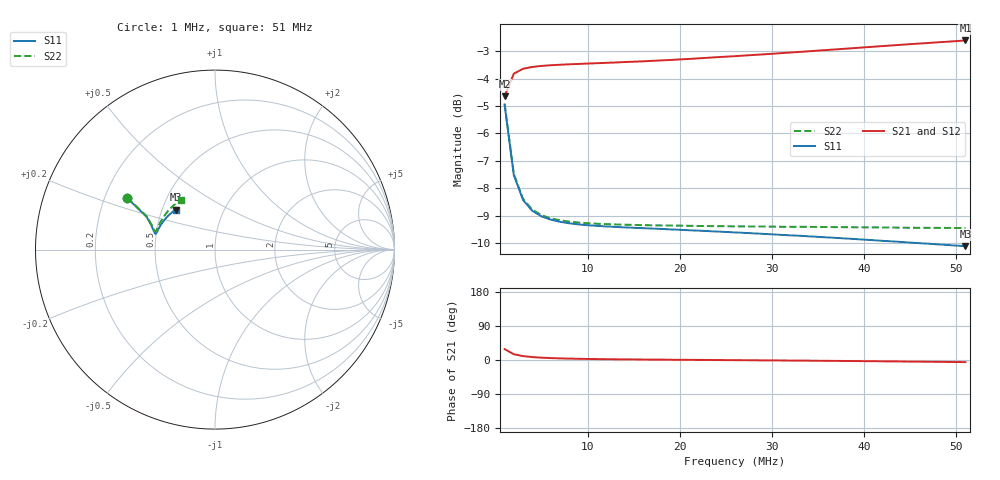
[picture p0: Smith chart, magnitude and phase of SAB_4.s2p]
# MHz S RI R 50
! S-Parameters data
! Freq  reS11  imS11  reS21  imS21  reS12  imS12  reS22  imS22
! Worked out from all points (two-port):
!   51 points, 1 MHz to 51 MHz, reference 50 ohm
!   highest |S21| = -2.61 dB at 51 MHz (marker M1); lowest = -4.6 dB at 1 MHz (marker M2)
!   |S21| within 3 dB of the highest: start of sweep to end of sweep
!   lowest |S11| = -10.1 dB at 51 MHz (marker M3), VSWR 1.91, Z = 29.4 + j14.5 ohm
!   |S11| at or under -10 dB: 45.75 MHz to end of sweep
!   |S22| runs from -9.5 to -4.9 dB; largest |S21 - S12| = 0.0026
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1  -0.4877 0.2863  0.5138 0.281  0.5113 0.281  -0.4884 0.2887
2  -0.3798 0.1808  0.6214 0.1694  0.6193 0.1701  -0.3797 0.185
3  -0.3543 0.1343  0.6469 0.1173  0.645 0.1178  -0.354 0.14
4  -0.3445 0.1115  0.6565 0.0888  0.6548 0.0893  -0.3439 0.1187
5  -0.3394 0.0993  0.6616 0.071  0.6598 0.0715  -0.3386 0.1082
6  -0.3363 0.0928  0.6647 0.0586  0.6629 0.0593  -0.3353 0.1032
7  -0.3339 0.0895  0.6668 0.0497  0.665 0.0502  -0.3328 0.1016
8  -0.332 0.0883  0.6685 0.0428  0.6667 0.0434  -0.3307 0.102
9  -0.3303 0.0884  0.6699 0.0372  0.6679 0.0378  -0.3287 0.1038
10  -0.3288 0.0894  0.6712 0.0325  0.6693 0.0332  -0.3268 0.1064
12  -0.3259 0.0936  0.6735 0.025  0.6716 0.0258  -0.3229 0.1136
14  -0.3227 0.0993  0.676 0.0193  0.6739 0.0203  -0.3188 0.1225
15  -0.3211 0.1027  0.6771 0.0166  0.6752 0.0179  -0.3166 0.1272
18  -0.3158 0.1134  0.6808 0.0109  0.6791 0.0113  -0.3096 0.1416
21  -0.3095 0.1248  0.6851 0.00485  0.6833 0.00534  -0.3016 0.1568
26  -0.2977 0.1438  0.6931 -0.00485  0.6915 -0.00427  -0.2863 0.1817
30  -0.287 0.1587  0.7 -0.0132  0.6985 -0.0125  -0.273 0.2006
35  -0.2725 0.1763  0.7091 -0.0248  0.7076 -0.024  -0.2548 0.2225
39  -0.2598 0.1894  0.7164 -0.035  0.7151 -0.0343  -0.2393 0.2385
43  -0.2466 0.2015  0.7236 -0.0465  0.7224 -0.0455  -0.2236 0.2528
48  -0.2295 0.2149  0.7321 -0.0621  0.7311 -0.0612  -0.2038 0.2684
51  -0.2192 0.2221  0.7369 -0.0724  0.736 -0.0714  -0.192 0.2767
